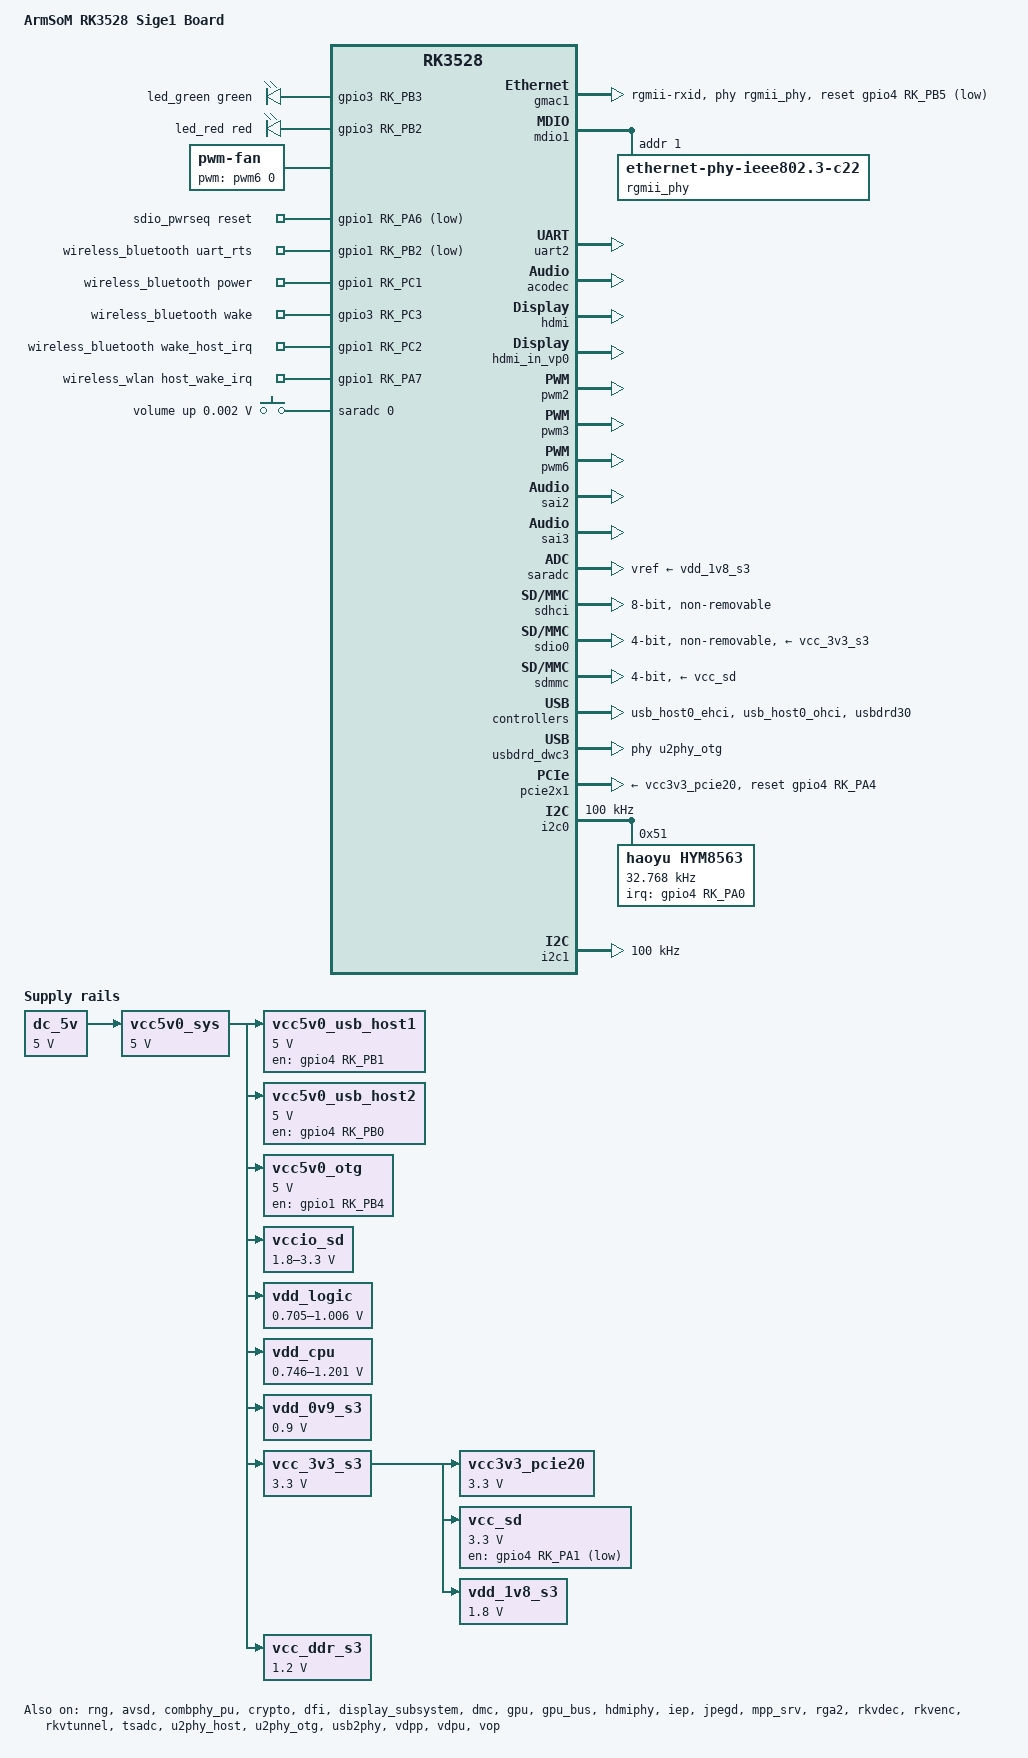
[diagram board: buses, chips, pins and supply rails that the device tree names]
// SPDX-License-Identifier: (GPL-2.0+ OR MIT)
/*
 * Copyright (c) 2022 Rockchip Electronics Co., Ltd.
 *
 */
/dts-v1/;

#include "rk3528.dtsi"
#include <dt-bindings/gpio/gpio.h>
#include <dt-bindings/leds/common.h>
#include <dt-bindings/input/rk-input.h>
#include <dt-bindings/pinctrl/rockchip.h>
#include <dt-bindings/pwm/pwm.h>
#include "rk3528-linux.dtsi"

/ {

	model = "ArmSoM RK3528 Sige1 Board";
	compatible = "rockchip,rk3528-armsom-sige1", "rockchip,rk3528";

	chosen: chosen {
		bootargs = "earlycon=uart8250,mmio32,0xff9f0000 console=ttyFIQ0 root=PARTUUID=614e0000-0000 rw rootwait";
	};

	leds {
		compatible = "gpio-leds";

		led_green: led-0 {
			color = <LED_COLOR_ID_GREEN>;
			function = LED_FUNCTION_STATUS;
			linux,default-trigger = "heartbeat";
			gpios = <&gpio3 RK_PB3 GPIO_ACTIVE_HIGH>;
		};

		led_red: led-1 {
			color = <LED_COLOR_ID_RED>;
			function = LED_FUNCTION_STATUS;
			gpios = <&gpio3 RK_PB2 GPIO_ACTIVE_HIGH>;
			linux,default-trigger = "none";
		};
	};

	fan: pwm-fan {
		compatible = "pwm-fan";
		#cooling-cells = <2>;
		/* Q3105 inverts FAN: a low GPIO level turns the fan on. */
		pwms = <&pwm6 0 50000 PWM_POLARITY_INVERTED>;
		cooling-levels = <0 50 100 150 200 255>;
		rockchip,temp-trips = <
			50000	1
			55000	2
			60000	3
			65000	4
			70000	5
		>;
	};

	vcc5v0_usb_host1: vcc5v0-usb-host1 {
		compatible = "regulator-fixed";
		regulator-name = "vcc5v0_usb_host1";
		regulator-boot-on;
		regulator-always-on;
		regulator-min-microvolt = <5000000>;
		regulator-max-microvolt = <5000000>;
		enable-active-high;
		gpio = <&gpio4 RK_PB1 GPIO_ACTIVE_HIGH>;
		vin-supply = <&vcc5v0_sys>;
		pinctrl-names = "default";
		pinctrl-0 = <&usb_host1_pwren>;
	};

	vcc5v0_usb_host2: vcc5v0-usb-host2 {
		compatible = "regulator-fixed";
		regulator-name = "vcc5v0_usb_host2";
		regulator-boot-on;
		regulator-always-on;
		regulator-min-microvolt = <5000000>;
		regulator-max-microvolt = <5000000>;
		enable-active-high;
		gpio = <&gpio4 RK_PB0 GPIO_ACTIVE_HIGH>;
		vin-supply = <&vcc5v0_sys>;
		pinctrl-names = "default";
		pinctrl-0 = <&usb_host2_pwren>;
	};

	vcc5v0_otg: vcc5v0-otg-regulator {
		compatible = "regulator-fixed";
		regulator-name = "vcc5v0_otg";
		regulator-min-microvolt = <5000000>;
		regulator-max-microvolt = <5000000>;
		enable-active-high;
		gpio = <&gpio1 RK_PB4 GPIO_ACTIVE_HIGH>;
		vin-supply = <&vcc5v0_sys>;
		pinctrl-names = "default";
		pinctrl-0 = <&vcc5v0_otg_en>;
	};

	vcc3v3_pcie20: vcc3v3-pcie20 {
		compatible = "regulator-fixed";
		regulator-name = "vcc3v3_pcie20";
		regulator-min-microvolt = <3300000>;
		regulator-max-microvolt = <3300000>;
		regulator-always-on;
		regulator-boot-on;
		startup-delay-us = <5000>;
		vin-supply = <&vcc_3v3_s3>;
	};

	sdio_pwrseq: sdio-pwrseq {
		compatible = "mmc-pwrseq-simple";
		pinctrl-names = "default";
		pinctrl-0 = <&wifi_enable_h &clkm1_32k_out>;
		post-power-on-delay-ms = <200>;
		reset-gpios = <&gpio1 RK_PA6 GPIO_ACTIVE_LOW>;
		status = "okay";
	};

	wireless_bluetooth: wireless-bluetooth {
		compatible = "bluetooth-platdata";
		uart_rts_gpios = <&gpio1 RK_PB2 GPIO_ACTIVE_LOW>;
		pinctrl-names = "default", "rts_gpio";
		pinctrl-0 = <&uart2m1_rtsn &bt_wake &bt_host_wake>;
		pinctrl-1 = <&uart2m1_rts_gpio>;
		BT,power_gpio = <&gpio1 RK_PC1 GPIO_ACTIVE_HIGH>;
		BT,wake_gpio = <&gpio3 RK_PC3 GPIO_ACTIVE_HIGH>;
		BT,wake_host_irq = <&gpio1 RK_PC2 GPIO_ACTIVE_HIGH>;
		status = "okay";
	};

	wireless_wlan: wireless-wlan {
		compatible = "wlan-platdata";
		/* BW3752-50B1 uses SYN43752, supported by the AP6275S profile. */
		wifi_chip_type = "ap6275s";
		rockchip,grf = <&grf>;
		pinctrl-names = "default";
		pinctrl-0 = <&wifi_host_wake_irq>;
		WIFI,host_wake_irq = <&gpio1 RK_PA7 GPIO_ACTIVE_HIGH>;
		status = "okay";
	};

	acodec_sound: acodec-sound {
		status = "okay";
		compatible = "simple-audio-card";
		simple-audio-card,name = "rk3528-acodec";
		simple-audio-card,format = "i2s";
		simple-audio-card,mclk-fs = <256>;
		simple-audio-card,cpu {
			sound-dai = <&sai2>;
		};
		simple-audio-card,codec {
			sound-dai = <&acodec>;
		};
	};

	adc_keys: adc-keys {
		status = "okay";
		compatible = "adc-keys";
		io-channels = <&saradc 0>;
		io-channel-names = "buttons";
		keyup-threshold-microvolt = <1800000>;
		poll-interval = <100>;

		vol-up-key {
			label = "volume up";
			linux,code = <KEY_VOLUMEUP>;
			press-threshold-microvolt = <1750>;
		};
	};

	dc_5v: dc-5v {
		compatible = "regulator-fixed";
		regulator-name = "dc_5v";
		regulator-always-on;
		regulator-boot-on;
		regulator-min-microvolt = <5000000>;
		regulator-max-microvolt = <5000000>;
	};

	hdmi_sound: hdmi-sound {
		compatible = "rockchip,hdmi";
		rockchip,mclk-fs = <128>;
		rockchip,card-name = "rockchip,hdmi";
		rockchip,cpu = <&sai3>;
		rockchip,codec = <&hdmi>;
		rockchip,jack-det;
	};

	sige1_i2s1_codec: i2s1-codec {
		compatible = "rockchip,dummy-codec";
		#sound-dai-cells = <0>;
		status = "disabled";
	};

	sige1_i2s1_sound: i2s1-sound {
		compatible = "simple-audio-card";
		simple-audio-card,name = "sige1-i2s1";
		simple-audio-card,format = "i2s";
		simple-audio-card,mclk-fs = <256>;
		status = "disabled";
		simple-audio-card,cpu {
			sound-dai = <&sai1>;
		};
		simple-audio-card,codec {
			sound-dai = <&sige1_i2s1_codec>;
		};
	};

	pdmics: dummy-codec {
		status = "disabled";
		compatible = "rockchip,dummy-codec";
		#sound-dai-cells = <0>;
	};

	pdm_mic_array: pdm-mic-array {
		status = "disabled";
		compatible = "simple-audio-card";
		simple-audio-card,name = "rockchip,pdm-mic-array";
		simple-audio-card,cpu {
			sound-dai = <&pdm>;
		};
		simple-audio-card,codec {
			sound-dai = <&pdmics>;
		};
	};

	vcc5v0_sys: vcc5v0-sys {
		compatible = "regulator-fixed";
		regulator-name = "vcc5v0_sys";
		regulator-always-on;
		regulator-boot-on;
		regulator-min-microvolt = <5000000>;
		regulator-max-microvolt = <5000000>;
		vin-supply = <&dc_5v>;
	};

	vccio_sd: vccio-sd {
		compatible = "regulator-gpio";
		regulator-name = "vccio_sd";
		regulator-min-microvolt = <1800000>;
		regulator-max-microvolt = <3300000>;
		/* Q2101/Q2102: high selects 1.8 V, low selects 3.3 V. */
		gpios = <&gpio4 RK_PC2 GPIO_ACTIVE_HIGH>;
		gpios-states = <0>;
		pinctrl-names = "default";
		pinctrl-0 = <&sdmmc_vol_ctrl>;
		vin-supply = <&vcc5v0_sys>;
		states = <1800000 0x1
			  3300000 0x0>;
	};

	vcc_sd: vcc-sd {
		compatible = "regulator-fixed";
		gpio = <&gpio4 RK_PA1 GPIO_ACTIVE_LOW>;
		regulator-name = "vcc_sd";
		regulator-min-microvolt = <3300000>;
		regulator-max-microvolt = <3300000>;
		pinctrl-names = "default";
		pinctrl-0 = <&sdmmc_pwren>;
		vin-supply = <&vcc_3v3_s3>;
	};

	vdd_logic: vdd-logic {
		compatible = "pwm-regulator";
		pwms = <&pwm2 0 5000 1>;
		regulator-name = "vdd_logic";
		regulator-min-microvolt = <705000>;
		regulator-max-microvolt = <1006000>;
		regulator-init-microvolt = <900000>;
		regulator-always-on;
		regulator-boot-on;
		regulator-settling-time-up-us = <250>;
		pwm-supply = <&vcc5v0_sys>;
		status = "okay";
	};

	vdd_cpu: vdd-cpu {
		compatible = "pwm-regulator";
		pwms = <&pwm3 0 5000 1>;
		regulator-name = "vdd_cpu";
		regulator-min-microvolt = <746000>;
		regulator-max-microvolt = <1201000>;
		regulator-init-microvolt = <953000>;
		regulator-always-on;
		regulator-boot-on;
		regulator-settling-time-up-us = <250>;
		pwm-supply = <&vcc5v0_sys>;
		status = "okay";
	};

	vdd_0v9_s3: vdd-0v9-s3 {
		compatible = "regulator-fixed";
		regulator-name = "vdd_0v9_s3";
		regulator-always-on;
		regulator-boot-on;
		regulator-min-microvolt = <900000>;
		regulator-max-microvolt = <900000>;
		vin-supply = <&vcc5v0_sys>;
	};

	vdd_1v8_s3: vdd-1v8-s3 {
		compatible = "regulator-fixed";
		regulator-name = "vdd_1v8_s3";
		regulator-always-on;
		regulator-boot-on;
		regulator-min-microvolt = <1800000>;
		regulator-max-microvolt = <1800000>;
		vin-supply = <&vcc_3v3_s3>;
	};

	vcc_3v3_s3: vcc-3v3-s3 {
		compatible = "regulator-fixed";
		regulator-name = "vcc_3v3_s3";
		regulator-always-on;
		regulator-boot-on;
		regulator-min-microvolt = <3300000>;
		regulator-max-microvolt = <3300000>;
		vin-supply = <&vcc5v0_sys>;
	};

	vcc_ddr_s3: vcc-ddr-s3 {
		compatible = "regulator-fixed";
		regulator-name = "vcc_ddr_s3";
		regulator-always-on;
		regulator-boot-on;
		regulator-min-microvolt = <1200000>;
		regulator-max-microvolt = <1200000>;
		vin-supply = <&vcc5v0_sys>;
	};
};

&gmac1 {
	/* Use rgmii-rxid mode to disable rx delay inside Soc */
	phy-mode = "rgmii-rxid";
	clock_in_out = "output";

	snps,reset-gpio = <&gpio4 RK_PB5 GPIO_ACTIVE_LOW>;
	snps,reset-active-low;
	/* Reset time is 20ms, 100ms for rtl8211f */
	snps,reset-delays-us = <0 20000 100000>;

	tx_delay = <0x30>;
	/* rx_delay = <0x3f>; */

	pinctrl-names = "default";
	pinctrl-0 = <&rgmii_miim
		     &rgmii_tx_bus2
		     &rgmii_rx_bus2
		     &rgmii_rgmii_clk
		     &rgmii_rgmii_bus
		     &eth_pins>;

	phy-handle = <&rgmii_phy>;
	status = "okay";
};

&mdio1 {
	rgmii_phy: phy@1 {
		compatible = "ethernet-phy-ieee802.3-c22";
		reg = <0x1>;
	};
};

&uart2 {
	status = "okay";
	pinctrl-names = "default";
	pinctrl-0 = <&uart2m1_xfer &uart2m1_ctsn>;
};

&rng {
	status = "okay";
};

&avsd {
	status = "okay";
};

&combphy_pu {
	status = "okay";
};

&cpu0 {
	cpu-supply = <&vdd_cpu>;
};

&crypto {
	status = "okay";
};

&dfi {
	status = "okay";
};

&display_subsystem {
	status = "okay";
};

&dmc {
	center-supply = <&vdd_logic>;
	status = "okay";
};

&acodec {
	status = "okay";
};

&gpu {
	/* GPU and logic share U2300 / PWM2 on Sige1 V1.2. */
	mali-supply = <&vdd_logic>;
	status = "okay";
};

&gpu_bus {
	bus-supply = <&vdd_logic>;
	status = "okay";
};

&hdmi {
	/* Keep the U-Boot logo RGB when the sink is detected as DVI. */
	force_output_bus_format_RGB;
	status = "okay";
};

&hdmi_in_vp0 {
	status = "okay";
};

&hdmiphy {
	status = "okay";
};

&iep {
	status = "okay";
};

&iep_mmu {
	status = "okay";
};

&jpegd {
	status = "okay";
};

&jpegd_mmu {
	status = "okay";
};

&mpp_srv {
	status = "okay";
};

&pwm2 {
	status = "okay";
};

&pwm3 {
	status = "okay";
};

&pwm6 {
	status = "okay";
	pinctrl-0 = <&pwm6m2_pins>;
};

&rga2 {
	status = "okay";
};

&rga2_mmu {
	status = "okay";
};

&rkvdec {
	status = "okay";
};

&rkvdec_mmu {
	status = "okay";
};

&rkvenc {
	status = "okay";
};

&rkvenc_mmu {
	status = "okay";
};

&rkvtunnel {
	status = "okay";
};

&rockchip_suspend {
	status = "okay";
	rockchip,sleep-debug-en = <1>;
	rockchip,virtual-poweroff = <1>;
	rockchip,sleep-mode-config = <
		(0
		| RKPM_SLP_ARMPD
		)
	>;
	rockchip,wakeup-config = <
		(0
		| RKPM_CPU0_WKUP_EN
		| RKPM_GPIO_WKUP_EN
		)
	>;
};

&sai0 {
	pinctrl-0 = <&i2s0m1_lrck &i2s0m1_sclk &i2s0m1_sdi &i2s0m1_sdo>;
	status = "disabled";
};

&sai2 {
	status = "okay";
};

&sai3 {
	status = "okay";
};

&saradc {
	status = "okay";
	vref-supply = <&vdd_1v8_s3>;
};

&sdhci {
	bus-width = <8>;
	no-sd;
	no-sdio;
	non-removable;
	mmc-hs400-1_8v;
	mmc-hs400-enhanced-strobe;
	max-frequency = <200000000>;
	status = "okay";
};

&sdio0 {
	vmmc-supply = <&vcc_3v3_s3>;
	vqmmc-supply = <&vdd_1v8_s3>;
	max-frequency = <200000000>;
	no-sd;
	no-mmc;
	supports-sdio;
	bus-width = <4>;
	disable-wp;
	cap-sd-highspeed;
	cap-sdio-irq;
	keep-power-in-suspend;
	non-removable;
	mmc-pwrseq = <&sdio_pwrseq>;
	pinctrl-names = "default";
	pinctrl-0 = <&sdio0_bus4 &sdio0_cmd &sdio0_clk>;
	sd-uhs-sdr104;
	status = "okay";
};

&sdmmc {
	bus-width = <4>;
	cap-mmc-highspeed;
	cap-sd-highspeed;
	disable-wp;
	max-frequency = <150000000>;
	pinctrl-names = "default";
	pinctrl-0 = <&sdmmc_clk &sdmmc_cmd &sdmmc_det &sdmmc_bus4>;
	supports-sd;
	sd-uhs-sdr12;
	sd-uhs-sdr25;
	sd-uhs-sdr50;
	sd-uhs-sdr104;
	vqmmc-supply = <&vccio_sd>;
	vmmc-supply = <&vcc_sd>;
	status = "okay";
};

&tsadc {
	status = "okay";
};

&u2phy_host {
	phy-supply = <&vcc5v0_sys>;
	status = "okay";
};

&u2phy_otg {
	vbus-supply = <&vcc5v0_otg>;
	status = "okay";
};

&usb2phy {
	status = "okay";
};

&usb_host0_ehci {
	status = "okay";
};

&usb_host0_ohci {
	status = "okay";
};

&usbdrd30 {
	status = "okay";
};

&usbdrd_dwc3 {
	extcon = <&usb2phy>;
	phys = <&u2phy_otg>;
	phy-names = "usb2-phy";
	maximum-speed = "high-speed";
	snps,dis_u2_susphy_quirk;
	snps,usb2-lpm-disable;
	status = "okay";
};

&vdpp {
	status = "okay";
};

&vdpu {
	status = "okay";
};

&vdpu_mmu {
	status = "okay";
};

&vop {
	status = "okay";
};

&vop_mmu {
	status = "okay";
};

&pcie2x1 {
	reset-gpios = <&gpio4 RK_PA4 GPIO_ACTIVE_HIGH>;
	vpcie3v3-supply = <&vcc3v3_pcie20>;
	status = "okay";
};

&i2c0 {
	clock-frequency = <100000>;
	pinctrl-names = "default";
	pinctrl-0 = <&i2c0m0_xfer>;
	status = "okay";
	hym8563: hym8563@51 {
		compatible = "haoyu,hym8563";
		reg = <0x51>;
		#clock-cells = <0>;
		clock-frequency = <32768>;
		clock-output-names = "hym8563";
		pinctrl-names = "default";
		pinctrl-0 = <&hym8563_int>;
		interrupt-parent = <&gpio4>;
		interrupts = <RK_PA0 IRQ_TYPE_LEVEL_LOW>;
	};
};

/* CON3100 pins 3/5; I2C0 on pins 27/28 also serves the RTC. */
&i2c1 {
	clock-frequency = <100000>;
	pinctrl-names = "default";
	pinctrl-0 = <&i2c1m0_xfer>;
	status = "okay";
};

/* Header SPI/PWM/I2S are enabled by the optional Sige1 overlays. */
&sai1 {
	pinctrl-0 = <&i2s1_sclk &i2s1_lrck &i2s1_sdi0 &i2s1_sdo0>;
	status = "disabled";
};

&pinctrl {
	sdmmc {
		sdmmc_pwren: sdmmc-pwren {
			rockchip,pins = <4 RK_PA1 RK_FUNC_GPIO &pcfg_pull_none>;
		};
		sdmmc_vol_ctrl: sdmmc-vol-ctrl {
			rockchip,pins = <4 RK_PC2 RK_FUNC_GPIO &pcfg_pull_none>;
		};
	};
	sdio-pwrseq {
		wifi_enable_h: wifi-enable-h {
			rockchip,pins = <1 RK_PA6 RK_FUNC_GPIO &pcfg_pull_none>;
		};
	};

	wireless-wlan {
		wifi_host_wake_irq: wifi-host-wake-irq {
			rockchip,pins = <1 RK_PA7 RK_FUNC_GPIO &pcfg_pull_down>;
		};
	};

	wireless-bluetooth {
		bt_wake: bt-wake {
			rockchip,pins = <3 RK_PC3 RK_FUNC_GPIO &pcfg_pull_none>;
		};
		bt_host_wake: bt-host-wake {
			rockchip,pins = <1 RK_PC2 RK_FUNC_GPIO &pcfg_pull_down>;
		};
		uart2m1_rts_gpio: uart2m1-rts-gpio {
			rockchip,pins = <1 RK_PB2 RK_FUNC_GPIO &pcfg_pull_none>;
		};
	};
	hym8563 {
		hym8563_int: hym8563-int {
			rockchip,pins = <4 RK_PA0 RK_FUNC_GPIO &pcfg_pull_none>;
		};
	};
	usb {
		usb_host1_pwren: usb-host1-pwren {
			rockchip,pins = <4 RK_PB1 RK_FUNC_GPIO &pcfg_pull_none>;
		};

		usb_host2_pwren: usb-host2-pwren {
			rockchip,pins = <4 RK_PB0 RK_FUNC_GPIO &pcfg_pull_none>;
		};

		vcc5v0_otg_en: vcc5v0-otg-en {
			rockchip,pins = <1 RK_PB4 RK_FUNC_GPIO &pcfg_pull_none>;
		};
	};

	leds {
		led_rgb_r: led-red-en {
			rockchip,pins = <3 RK_PB2 RK_FUNC_GPIO &pcfg_pull_none>;
		};
		led_rgb_g: led-green-en {
			rockchip,pins = <3 RK_PB3 RK_FUNC_GPIO &pcfg_pull_none>;
		};
	};
};
